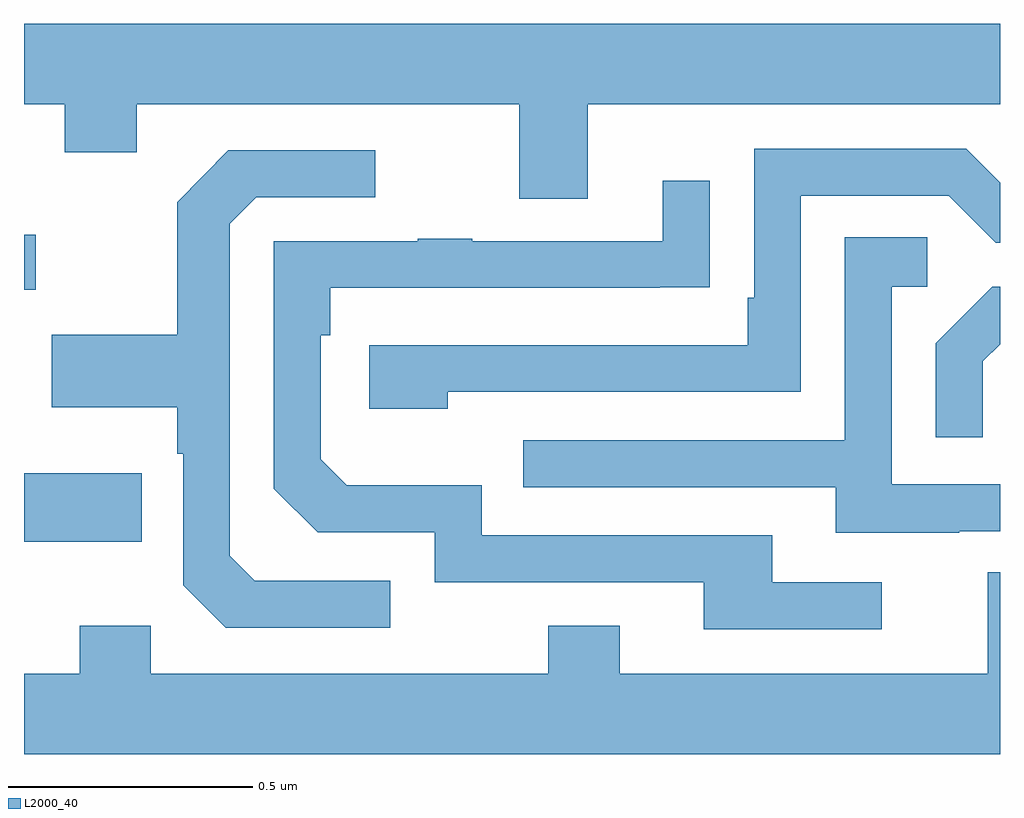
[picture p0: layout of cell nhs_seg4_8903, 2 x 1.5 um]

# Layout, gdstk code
import gdstk
lib = gdstk.Library(unit=1e-6, precision=1e-09)
def R(c, l, rs):  # rectangles x0, y0, x1, y1
    for r in rs: c.add(gdstk.rectangle(r[:2], r[2:], *l))
def P(c, l, *ps):  # polygons
    for p in ps: c.add(gdstk.Polygon(p, *l))
L2000_40 = (2000, 40)

nhs_seg4_8903 = lib.new_cell('nhs_seg4_8903')
R(nhs_seg4_8903, L2000_40, [(220,822.563,220.241,822.703), (220,823.079,220.024,823.192)])
P(nhs_seg4_8903, L2000_40, [(221.155,823.46),(222,823.46),(222,823.624),(220,823.624),(220,823.46),(220.084,823.46),(220.084,823.361),(220.231,823.361),(220.231,823.46),(221.015,823.46),(221.015,823.266),(221.155,823.266)],
  [(220.868,822.87),(221.592,822.87),(221.592,823.272),(221.895,823.272),(221.991,823.176),(222,823.176),(222,823.299),(221.931,823.368),(221.496,823.368),(221.496,823.063),(221.483,823.063),(221.483,822.966),(220.707,822.966),(220.707,822.836),(220.868,822.836)],
  [(220.75,822.483),(220.473,822.483),(220.422,822.534),(220.422,823.215),(220.476,823.269),(220.72,823.269),(220.72,823.365),(220.419,823.365),(220.314,823.259),(220.314,822.987),(220.057,822.987),(220.057,822.839),(220.314,822.839),(220.314,822.743),(220.326,822.743),(220.326,822.474),(220.413,822.387),(220.75,822.387)],
  [(221.758,822.48),(221.533,822.48),(221.533,822.576),(220.938,822.576),(220.938,822.679),(220.661,822.679),(220.608,822.732),(220.608,822.986),(220.628,822.986),(220.628,823.083),(221.303,823.083),(221.303,823.084),(221.405,823.084),(221.405,823.303),(221.309,823.303),(221.309,823.179),(220.919,823.179),(220.919,823.184),(220.807,823.184),(220.807,823.179),(220.512,823.179),(220.512,822.672),(220.602,822.582),(220.842,822.582),(220.842,822.48),(221.393,822.48),(221.393,822.384),(221.758,822.384)],
  [(221.917,822.585),(222,822.585),(222,822.681),(221.778,822.681),(221.778,823.086),(221.851,823.086),(221.851,823.187),(221.682,823.187),(221.682,822.771),(221.023,822.771),(221.023,822.675),(221.663,822.675),(221.663,822.581),(221.917,822.581)],
  [(221.965,822.933),(222,822.968),(222,823.086),(221.984,823.086),(221.868,822.97),(221.868,822.777),(221.965,822.777)],
  [(221.074,822.391),(221.074,822.292),(220.26,822.292),(220.26,822.391),(220.114,822.391),(220.114,822.292),(220,822.292),(220,822.128),(222,822.128),(222,822.5),(221.975,822.5),(221.975,822.292),(221.221,822.292),(221.221,822.391)])

lib.write_gds('nhs_seg4_8903.gds')
